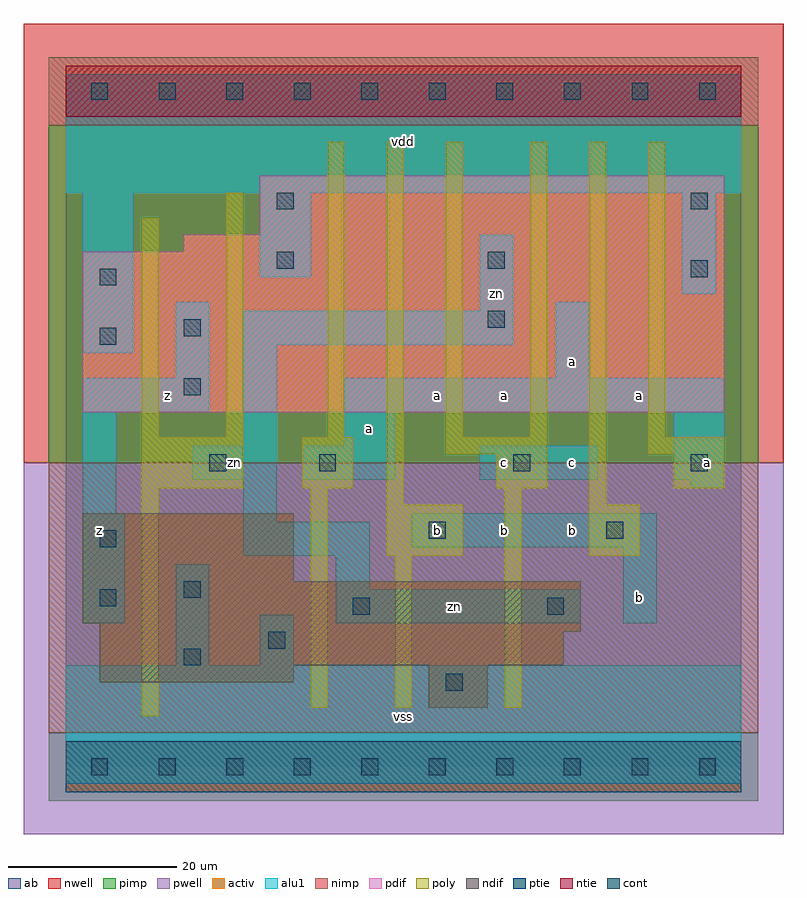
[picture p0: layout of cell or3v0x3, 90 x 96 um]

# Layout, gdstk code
import gdstk
lib = gdstk.Library(unit=1e-6, precision=1e-09)
def R(c, l, rs):  # rectangles x0, y0, x1, y1
    for r in rs: c.add(gdstk.rectangle(r[:2], r[2:], *l))
def A(c, l, x, y, w, h, nx, ny, dx, dy):  # array of equal rectangles
    R(c, l, [(x+i*dx, y+j*dy, x+i*dx+w, y+j*dy+h) for i in range(nx) for j in range(ny)])
ndif = (3, 0)
pdif = (4, 0)
ntie = (5, 0)
ptie = (6, 0)
cont = (25, 0)
pwell = (41, 0)
nwell = (42, 0)
activ = (43, 0)
pimp = (44, 0)
nimp = (45, 0)
poly = (46, 0)
alu1 = (49, 0)
ab = (63, 0)

or3v0x3 = lib.new_cell('or3v0x3')
R(or3v0x3, ndif, [(43,7,50,12), (4,10,27,12), (4,12,59,16), (4,16,61,17), (2,17,61,22), (2,22,27,30)])
R(or3v0x3, pdif, [(2,42,78,61), (14,61,78,63), (23,63,78,70)])
R(or3v0x3, ntie, [(0,77,80,83)])
R(or3v0x3, ptie, [(0,-3,80,3)])
A(or3v0x3, cont, 3, -1, 2, 2, 10, 2, 8, 80)
R(or3v0x3, cont, [(45,9,47,11), (14,12,16,14), (24,14,26,16), (34,18,36,20), (57,18,59,20), (4,19,6,21), (14,20,16,22), (4,26,6,28), (43,27,45,29), (64,27,66,29), (17,35,19,37), (30,35,32,37), (53,35,55,37), (74,35,76,37), (14,44,16,46), (4,50,6,52), (14,51,16,53), (50,52,52,54), (4,57,6,59), (74,58,76,60), (25,59,27,61), (50,59,52,61), (25,66,27,68), (74,66,76,68)])
R(or3v0x3, pwell, [(-5,-8,85,36)])
R(or3v0x3, nwell, [(-5,36,85,88)])
R(or3v0x3, activ, [(0,-3,80,3), (43,7,50,12), (4,10,27,12), (4,12,59,16), (4,16,61,17), (2,17,61,22), (2,22,27,30), (2,42,78,61), (14,61,78,63), (23,63,78,70), (0,77,80,83)])
R(or3v0x3, pimp, [(-2,-4,82,4), (-2,36,82,76)])
R(or3v0x3, nimp, [(-2,4,82,36), (-2,76,82,84)])
R(or3v0x3, poly, [(9,6,11,33), (29,7,31,33), (39,7,41,25), (52,7,54,33), (38,25,47,31), (62,25,68,31), (38,31,40,74), (62,31,64,74), (9,33,21,39), (28,33,34,39), (51,33,57,37), (72,33,78,37), (45,37,57,39), (69,37,78,39), (9,39,11,65), (19,39,21,68), (31,39,33,74), (45,39,47,74), (55,39,57,74), (69,39,71,74)])
R(or3v0x3, alu1, [(0,-2,80,12), (13,12,17,24), (23,12,27,18), (2,17,7,30), (32,17,61,21), (66,17,70,26), (32,21,36,25), (21,25,36,29), (41,26,70,30), (21,29,25,34), (2,30,6,42), (74,33,78,34), (15,34,25,38), (28,34,39,38), (49,34,63,38), (72,34,78,42), (21,38,25,50), (33,38,39,42), (2,42,17,46), (33,42,78,46), (13,46,17,55), (58,46,62,55), (2,49,8,68), (21,50,53,54), (49,54,53,63), (73,56,77,68), (23,58,29,68), (0,68,80,82)])
R(or3v0x3, ab, [(0,0,80,80)])
or3v0x3.add(gdstk.Label('zn', (20,36), layer=49, texttype=0))
or3v0x3.add(gdstk.Label('zn', (51,56), layer=49, texttype=0))
or3v0x3.add(gdstk.Label('zn', (46,19), layer=49, texttype=0))
or3v0x3.add(gdstk.Label('z', (4,28), layer=49, texttype=0))
or3v0x3.add(gdstk.Label('z', (12,44), layer=49, texttype=0))
or3v0x3.add(gdstk.Label('a', (36,40), layer=49, texttype=0))
or3v0x3.add(gdstk.Label('vss', (40,6), layer=49, texttype=0))
or3v0x3.add(gdstk.Label('b', (44,28), layer=49, texttype=0))
or3v0x3.add(gdstk.Label('b', (52,28), layer=49, texttype=0))
or3v0x3.add(gdstk.Label('c', (52,36), layer=49, texttype=0))
or3v0x3.add(gdstk.Label('a', (52,44), layer=49, texttype=0))
or3v0x3.add(gdstk.Label('a', (44,44), layer=49, texttype=0))
or3v0x3.add(gdstk.Label('vdd', (40,74), layer=49, texttype=0))
or3v0x3.add(gdstk.Label('b', (68,20), layer=49, texttype=0))
or3v0x3.add(gdstk.Label('b', (60,28), layer=49, texttype=0))
or3v0x3.add(gdstk.Label('c', (60,36), layer=49, texttype=0))
or3v0x3.add(gdstk.Label('a', (76,36), layer=49, texttype=0))
or3v0x3.add(gdstk.Label('a', (68,44), layer=49, texttype=0))
or3v0x3.add(gdstk.Label('a', (60,48), layer=49, texttype=0))

lib.write_gds('or3v0x3.gds')
